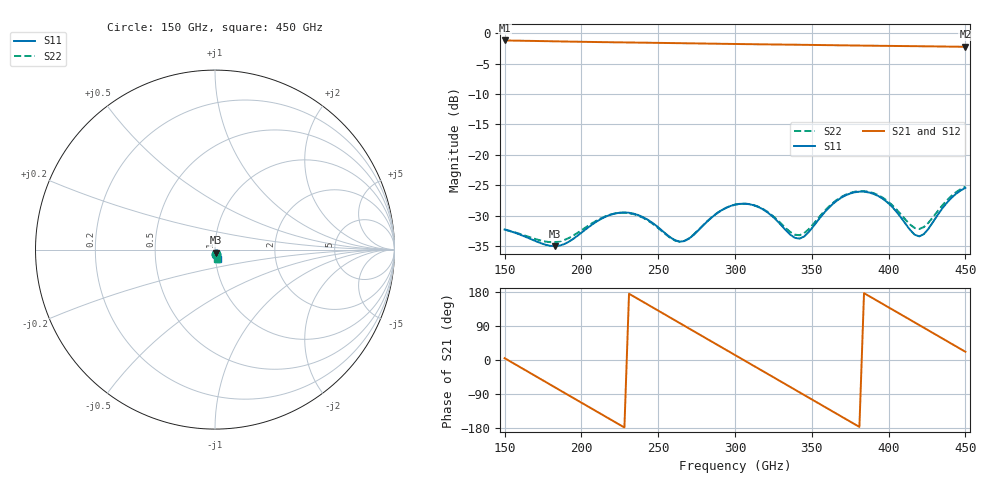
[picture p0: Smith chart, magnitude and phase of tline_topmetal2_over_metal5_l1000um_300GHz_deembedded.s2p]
! Created with skrf 2.2.0 (http://scikit-rf.org).
# GHz S DB R 50.0
! Port[1] = P1
! Port[2] = P2
!freq dBS11 angS11 dBS21 angS21 dBS12 angS12 dBS22 angS22
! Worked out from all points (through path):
!   101 points, 150 GHz to 450 GHz, reference 50 ohm
!   highest |S21| = -1.17 dB at 150 GHz (marker M1); lowest = -2.2 dB at 450 GHz (marker M2)
!   group delay of S21, straight-line fit = 6.51 ps
!   lowest |S11| = -35.0 dB at 183 GHz (marker M3), VSWR 1.04, Z = 50.5 - j1.72 ohm
!   |S11| at or under -10 dB: start of sweep to end of sweep
!   |S22| runs from -34.4 to -25.2 dB; largest |S21 - S12| = 1e-13
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150  -32.30 -82.1  -1.17 4.9  -1.17 4.9  -32.28 -82.2
165  -33.64 -85.4  -1.23 -30.4  -1.23 -30.4  -33.44 -84.3
183  -35.04 -73.8  -1.31 -72.7  -1.31 -72.7  -34.37 -74.4
201  -32.62 -60.1  -1.39 -114.9  -1.39 -114.9  -32.26 -64.0
216  -30.15 -68.0  -1.45 -150.0  -1.45 -150.0  -30.09 -71.5
228  -29.49 -80.7  -1.49 -178.1  -1.49 -178.1  -29.53 -83.4
240  -30.24 -92.8  -1.53 153.7  -1.53 153.7  -30.34 -94.8
252  -32.36 -97.2  -1.58 125.6  -1.58 125.6  -32.48 -98.2
273  -33.20 -67.3  -1.65 76.3  -1.65 76.3  -33.14 -67.7
288  -29.68 -66.3  -1.71 41.2  -1.71 41.2  -29.65 -66.8
300  -28.21 -78.1  -1.75 13.1  -1.75 13.1  -28.19 -78.1
315  -28.56 -95.3  -1.80 -22.0  -1.80 -22.0  -28.52 -94.6
330  -31.56 -102.3  -1.85 -57.1  -1.85 -57.1  -31.32 -100.6
342  -33.79 -80.9  -1.88 -85.2  -1.88 -85.2  -33.23 -80.7
351  -31.78 -62.7  -1.91 -106.3  -1.91 -106.3  -31.39 -64.2
366  -27.61 -66.2  -1.96 -141.5  -1.96 -141.5  -27.47 -67.0
378  -26.16 -80.8  -2.00 -169.6  -2.00 -169.6  -26.07 -80.7
390  -26.41 -97.0  -2.04 162.3  -2.04 162.3  -26.29 -95.8
402  -28.48 -109.1  -2.07 134.3  -2.07 134.3  -28.20 -106.4
417  -33.15 -95.0  -2.11 99.1  -2.11 99.1  -32.05 -93.1
426  -32.15 -67.1  -2.14 78.0  -2.14 78.0  -31.17 -70.4
450  -25.44 -73.9  -2.22 21.7  -2.22 21.7  -25.24 -76.2
